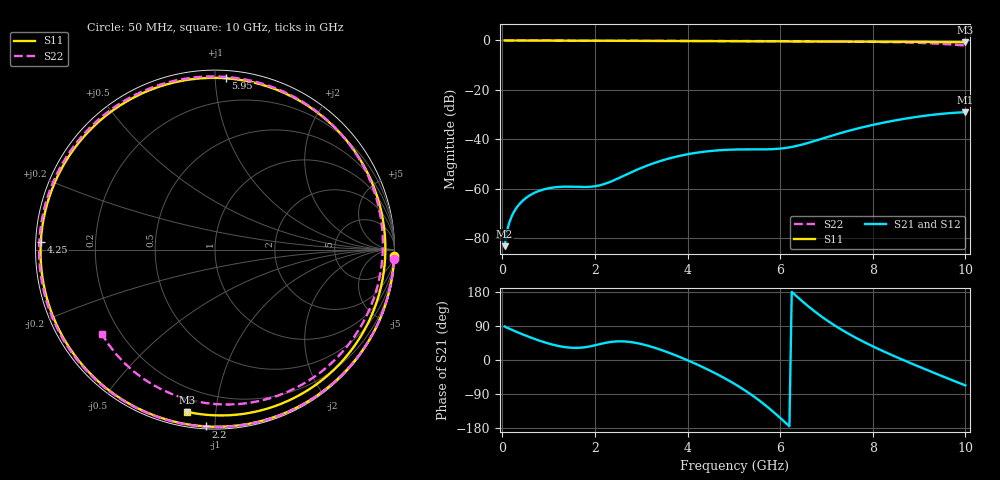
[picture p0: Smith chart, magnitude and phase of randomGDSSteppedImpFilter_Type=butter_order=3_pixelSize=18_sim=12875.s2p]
! freq	dB(S11)	phase(S11)	dB(S12)	phase(S12)
!  dB(S21)	phase(S21)	dB(S22)	phase(S22)
!S-par simulation data
#  GHz  S  DB  R 50
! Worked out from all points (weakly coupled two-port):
!   200 points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, 50 MHz to 10 GHz, reference 50 ohm
!   highest |S21| = -29.05 dB at 10 GHz (marker M1); lowest = -83.3 dB at 50 MHz (marker M2)
!   lowest |S11| = -0.8 dB at 10 GHz (marker M3), VSWR 23.17, Z = 3.69 - j42.1 ohm
!   |S11| at or under -10 dB: nowhere
!   |S22| runs from -2.1 to 0.0 dB; largest |S21 - S12| = 0
!   S11 on the Smith chart (normalised r, x): 50 MHz: 1, -52; 2.2 GHz: 0.01, -0.95; 4.25 GHz: 0.01, +0.02; 5.95 GHz: 0.05, +1.06; 10 GHz: 0.07, -0.84
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0.05  -0.01 -2.2  -83.30 88.4  -83.30 88.4  -0.00 -3.1
0.25  -0.01 -10.8  -69.47 77.2  -69.47 77.2  -0.02 -15.2
0.55  -0.03 -23.6  -63.26 62.3  -63.26 62.3  -0.04 -33.0
1.15  -0.06 -49.0  -59.43 38.7  -59.43 38.7  -0.07 -66.6
1.75  -0.09 -74.1  -59.33 33.1  -59.33 33.1  -0.11 -96.8
2.2  -0.12 -92.9  -58.15 44.5  -58.15 44.5  -0.13 -117.2
2.8  -0.15 -118.0  -53.25 46.9  -53.25 46.9  -0.14 -141.9
3.4  -0.19 -143.7  -48.89 27.9  -48.89 27.9  -0.16 -164.7
4.25  -0.25 177.5  -45.32 -14.3  -45.32 -14.3  -0.19 164.7
5.05  -0.32 136.9  -44.15 -65.6  -44.15 -65.6  -0.23 135.8
5.5  -0.35 112.2  -44.11 -102.4  -44.11 -102.4  -0.26 119.0
5.95  -0.39 86.4  -43.87 -147.3  -43.87 -147.3  -0.29 101.3
6.3  -0.40 65.9  -42.94 174.2  -42.94 174.2  -0.32 86.8
6.7  -0.42 42.8  -40.96 132.6  -40.96 132.6  -0.35 69.3
7.05  -0.43 23.3  -38.93 101.3  -38.93 101.3  -0.39 53.0
7.45  -0.45 2.1  -36.74 71.1  -36.74 71.1  -0.45 33.1
7.9  -0.47 -19.9  -34.62 42.0  -34.62 42.0  -0.54 9.1
8.35  -0.51 -39.9  -32.84 16.4  -32.84 16.4  -0.67 -17.0
8.8  -0.56 -58.1  -31.37 -7.5  -31.37 -7.5  -0.87 -45.6
9.3  -0.62 -76.4  -30.09 -32.8  -30.09 -32.8  -1.20 -81.4
9.65  -0.68 -88.3  -29.45 -50.2  -29.45 -50.2  -1.57 -110.3
10  -0.75 -99.6  -29.05 -67.1  -29.05 -67.1  -2.08 -143.4
